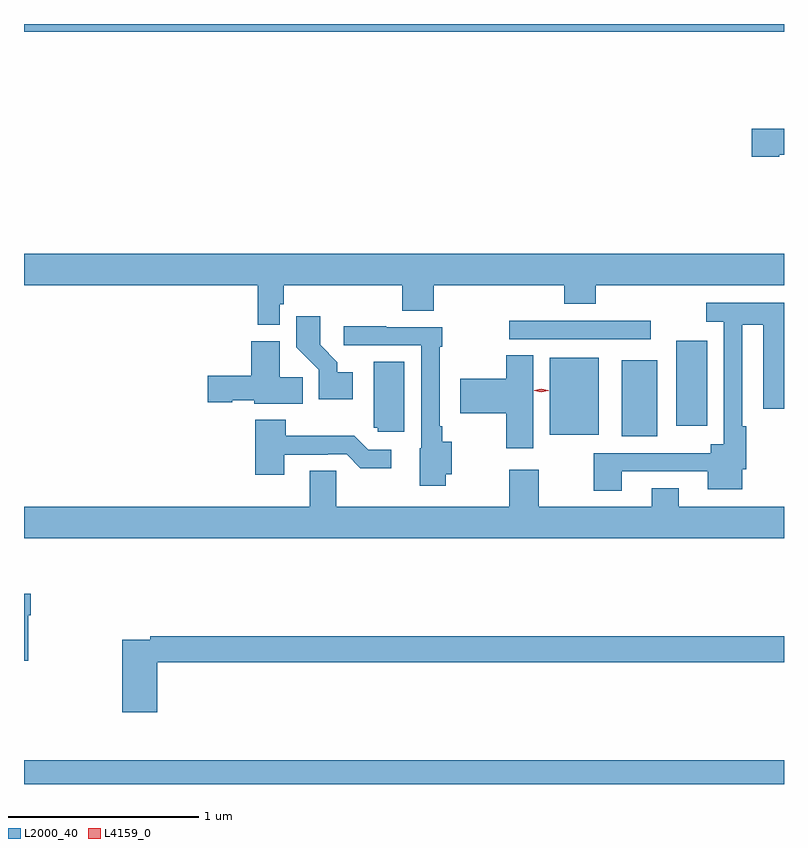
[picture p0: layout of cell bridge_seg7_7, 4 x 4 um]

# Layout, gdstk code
import gdstk
lib = gdstk.Library(unit=1e-6, precision=1e-09)
def R(c, l, rs):  # rectangles x0, y0, x1, y1
    for r in rs: c.add(gdstk.rectangle(r[:2], r[2:], *l))
def P(c, l, *ps):  # polygons
    for p in ps: c.add(gdstk.Polygon(p, *l))
L2000_40 = (2000, 40)
L4159_0 = (4159, 0)

bridge_seg7_7 = lib.new_cell('bridge_seg7_7')
R(bridge_seg7_7, L2000_40, [(1023.732,1075.246,1027.732,1075.372), (1026.878,1077.077,1027.066,1077.475), (1026.5,1077.083,1026.757,1077.49), (1027.166,1077.132,1027.327,1077.58), (1026.285,1077.588,1027.03,1077.684), (1023.732,1079.204,1027.732,1079.246)])
P(bridge_seg7_7, L2000_40, [(1027.706,1078.559),(1027.732,1078.559),(1027.732,1078.694),(1027.563,1078.694),(1027.563,1078.547),(1027.706,1078.547)],
  [(1025.079,1077.771),(1025.099,1077.771),(1025.099,1077.872),(1025.723,1077.872),(1025.723,1077.736),(1025.888,1077.736),(1025.888,1077.872),(1026.575,1077.872),(1026.575,1077.773),(1026.74,1077.773),(1026.74,1077.872),(1027.732,1077.872),(1027.732,1078.036),(1023.732,1078.036),(1023.732,1077.872),(1024.963,1077.872),(1024.963,1077.662),(1025.079,1077.662)],
  [(1026.877,1076.892),(1027.331,1076.892),(1027.331,1076.798),(1027.513,1076.798),(1027.513,1076.902),(1027.532,1076.902),(1027.532,1077.13),(1027.512,1077.13),(1027.512,1077.664),(1027.623,1077.664),(1027.623,1077.22),(1027.732,1077.22),(1027.732,1077.78),(1027.323,1077.78),(1027.323,1077.68),(1027.416,1077.68),(1027.416,1077.034),(1027.346,1077.034),(1027.346,1076.988),(1026.73,1076.988),(1026.73,1076.79),(1026.877,1076.79)],
  [(1025.461,1077.412),(1025.38,1077.412),(1025.38,1077.467),(1025.29,1077.557),(1025.29,1077.709),(1025.164,1077.709),(1025.164,1077.546),(1025.283,1077.427),(1025.283,1077.272),(1025.461,1077.272)],
  [(1025.952,1076.876),(1025.982,1076.876),(1025.982,1077.047),(1025.932,1077.047),(1025.932,1077.13),(1025.919,1077.13),(1025.919,1077.548),(1025.932,1077.548),(1025.932,1077.651),(1025.639,1077.651),(1025.639,1077.654),(1025.415,1077.654),(1025.415,1077.555),(1025.823,1077.555),(1025.823,1077.012),(1025.816,1077.012),(1025.816,1076.816),(1025.952,1076.816)],
  [(1025.198,1077.386),(1025.077,1077.386),(1025.077,1077.577),(1024.928,1077.577),(1024.928,1077.396),(1024.698,1077.396),(1024.698,1077.254),(1024.827,1077.254),(1024.827,1077.266),(1024.944,1077.266),(1024.944,1077.248),(1025.198,1077.248)],
  [(1026.412,1077.503),(1026.271,1077.503),(1026.271,1077.38),(1026.027,1077.38),(1026.027,1077.197),(1026.271,1077.197),(1026.271,1077.012),(1026.412,1077.012)],
  [(1025.734,1077.469),(1025.573,1077.469),(1025.573,1077.12),(1025.595,1077.12),(1025.595,1077.099),(1025.734,1077.099)],
  [(1025.101,1076.979),(1025.33,1076.979),(1025.33,1076.982),(1025.43,1076.982),(1025.503,1076.909),(1025.665,1076.909),(1025.665,1077.006),(1025.544,1077.006),(1025.471,1077.079),(1025.109,1077.079),(1025.109,1077.163),(1024.949,1077.163),(1024.949,1076.874),(1025.101,1076.874)],
  [(1027.732,1076.704),(1027.177,1076.704),(1027.177,1076.803),(1027.037,1076.803),(1027.037,1076.704),(1026.441,1076.704),(1026.441,1076.899),(1026.286,1076.899),(1026.286,1076.704),(1025.376,1076.704),(1025.376,1076.894),(1025.237,1076.894),(1025.237,1076.704),(1023.732,1076.704),(1023.732,1076.54),(1027.732,1076.54)],
  [(1023.754,1076.135),(1023.767,1076.135),(1023.767,1076.248),(1023.732,1076.248),(1023.732,1075.895),(1023.754,1075.895)],
  [(1024.433,1075.888),(1027.732,1075.888),(1027.732,1076.024),(1024.396,1076.024),(1024.396,1076.004),(1024.25,1076.004),(1024.25,1075.623),(1024.433,1075.623)])
P(bridge_seg7_7, L4159_0, [(1026.455,1077.307),(1026.418,1077.317),(1026.418,1077.317),(1026.418,1077.318),(1026.455,1077.327),(1026.492,1077.318),(1026.493,1077.317),(1026.492,1077.317)])

lib.write_gds('bridge_seg7_7.gds')
